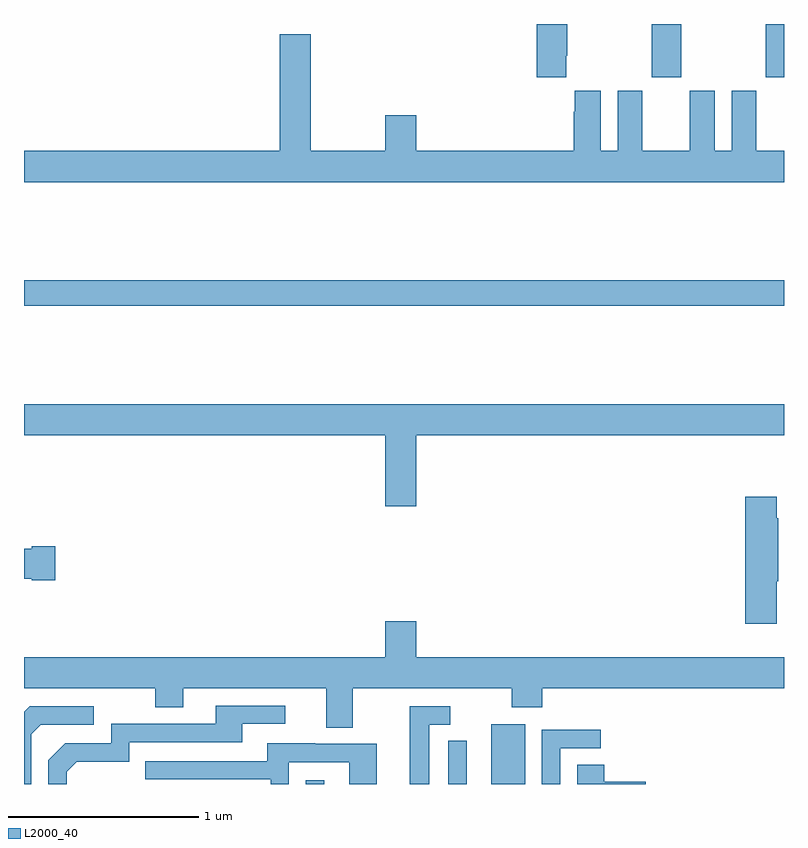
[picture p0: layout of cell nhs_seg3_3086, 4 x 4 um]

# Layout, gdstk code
import gdstk
lib = gdstk.Library(unit=1e-6, precision=1e-09)
def R(c, l, rs):  # rectangles x0, y0, x1, y1
    for r in rs: c.add(gdstk.rectangle(r[:2], r[2:], *l))
def P(c, l, *ps):  # polygons
    for p in ps: c.add(gdstk.Polygon(p, *l))
L2000_40 = (2000, 40)

nhs_seg3_3086 = lib.new_cell('nhs_seg3_3086')
R(nhs_seg3_3086, L2000_40, [(272.484,712.4,272.581,712.42), (273.458,712.4,273.637,712.714), (271,714.916,275,715.052), (274.303,716.121,274.458,716.4), (274.903,716.121,275,716.4)])
P(nhs_seg3_3086, L2000_40, [(273.853,716.233),(273.858,716.233),(273.858,716.4),(273.698,716.4),(273.698,716.121),(273.853,716.121)],
  [(275,715.732),(274.855,715.732),(274.855,716.05),(274.724,716.05),(274.724,715.732),(274.636,715.732),(274.636,716.05),(274.505,716.05),(274.505,715.732),(274.255,715.732),(274.255,716.05),(274.124,716.05),(274.124,715.732),(274.036,715.732),(274.036,716.05),(273.899,716.05),(273.899,715.937),(273.893,715.937),(273.893,715.732),(273.064,715.732),(273.064,715.921),(272.9,715.921),(272.9,715.732),(272.509,715.732),(272.509,716.347),(272.345,716.347),(272.345,715.732),(271,715.732),(271,715.568),(275,715.568)],
  [(273.064,714.236),(275,714.236),(275,714.4),(271,714.4),(271,714.236),(272.9,714.236),(272.9,713.862),(273.064,713.862)],
  [(274.963,713.467),(274.971,713.467),(274.971,713.798),(274.963,713.798),(274.963,713.911),(274.796,713.911),(274.796,713.244),(274.963,713.244)],
  [(271.165,713.651),(271.041,713.651),(271.041,713.638),(271,713.638),(271,713.48),(271.041,713.48),(271.041,713.473),(271.165,713.473)],
  [(271,712.904),(271.69,712.904),(271.69,712.805),(271.837,712.805),(271.837,712.904),(272.591,712.904),(272.591,712.696),(272.731,712.696),(272.731,712.904),(273.568,712.904),(273.568,712.805),(273.728,712.805),(273.728,712.904),(275,712.904),(275,713.068),(273.064,713.068),(273.064,713.257),(272.9,713.257),(272.9,713.068),(271,713.068)],
  [(271.224,712.464),(271.277,712.517),(271.554,712.517),(271.554,712.62),(272.149,712.62),(272.149,712.716),(272.374,712.716),(272.374,712.812),(272.009,712.812),(272.009,712.716),(271.458,712.716),(271.458,712.614),(271.218,712.614),(271.128,712.524),(271.128,712.4),(271.224,712.4)],
  [(271.038,712.662),(271.089,712.713),(271.366,712.713),(271.366,712.809),(271.029,712.809),(271,712.78),(271,712.4),(271.038,712.4)],
  [(273.133,712.713),(273.244,712.713),(273.244,712.809),(273.029,712.809),(273.029,712.4),(273.133,712.4)],
  [(273.822,712.587),(274.036,712.587),(274.036,712.686),(273.726,712.686),(273.726,712.4),(273.822,712.4)],
  [(273.329,712.474),(273.33,712.474),(273.33,712.628),(273.234,712.628),(273.234,712.4),(273.329,712.4)],
  [(272.394,712.515),(272.712,712.515),(272.712,712.4),(272.857,712.4),(272.857,712.611),(272.533,712.611),(272.533,712.615),(272.279,712.615),(272.279,712.521),(271.639,712.521),(271.639,712.425),(272.298,712.425),(272.298,712.4),(272.394,712.4)],
  [(274.273,712.412),(274.055,712.412),(274.055,712.502),(273.911,712.502),(273.911,712.4),(274.273,712.4)])

lib.write_gds('nhs_seg3_3086.gds')
